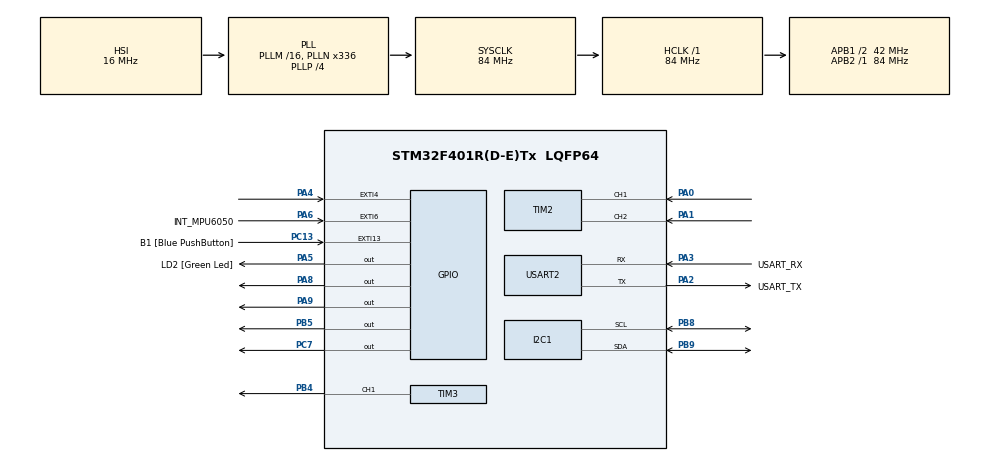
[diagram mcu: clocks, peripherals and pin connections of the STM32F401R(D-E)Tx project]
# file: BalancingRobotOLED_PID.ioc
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Mcu.Family=STM32F4
Mcu.Name=STM32F401R(D-E)Tx
Mcu.Package=LQFP64
NVIC.EXTI4_IRQn=true\:0\:0\:false\:false\:true\:true\:true\:true
NVIC.EXTI9_5_IRQn=true\:0\:0\:false\:false\:true\:true\:true\:true
NVIC.PriorityGroup=NVIC_PRIORITYGROUP_4
PA0-WKUP.Signal=S_TIM2_CH1_ETR
PA1.Signal=S_TIM2_CH2
PA13.GPIO_Label=TMS
PA13.Mode=Trace_Asynchronous_SW
PA13.Signal=SYS_JTMS-SWDIO
PA14.GPIO_Label=TCK
PA14.Mode=Trace_Asynchronous_SW
PA14.Signal=SYS_JTCK-SWCLK
PA2.GPIO_Label=USART_TX
PA2.GPIO_Mode=GPIO_MODE_AF_PP
PA2.GPIO_PuPd=GPIO_NOPULL
PA2.GPIO_Speed=GPIO_SPEED_FREQ_LOW
PA2.Mode=Asynchronous
PA2.Signal=USART2_TX
PA3.GPIO_Label=USART_RX
PA3.GPIO_Mode=GPIO_MODE_AF_PP
PA3.GPIO_PuPd=GPIO_NOPULL
PA3.GPIO_Speed=GPIO_SPEED_FREQ_LOW
PA3.Mode=Asynchronous
PA3.Signal=USART2_RX
PA4.Signal=GPXTI4
PA5.GPIO_Label=LD2 [Green Led]
PA5.GPIO_Mode=GPIO_MODE_OUTPUT_PP
PA5.GPIO_PuPd=GPIO_NOPULL
PA5.GPIO_Speed=GPIO_SPEED_FREQ_LOW
PA5.Signal=GPIO_Output
PA6.GPIO_Label=INT_MPU6050
PA6.Signal=GPXTI6
PA8.Signal=GPIO_Output
PA9.Signal=GPIO_Output
PB3.GPIO_Label=SWO
PB3.Mode=Trace_Asynchronous_SW
PB3.Signal=SYS_JTDO-SWO
PB4.Signal=S_TIM3_CH1
PB5.Signal=GPIO_Output
PB8.Mode=I2C
PB8.Signal=I2C1_SCL
PB9.Mode=I2C
PB9.Signal=I2C1_SDA
PC13-ANTI_TAMP.GPIO_Label=B1 [Blue PushButton]
PC13-ANTI_TAMP.GPIO_ModeDefaultEXTI=GPIO_MODE_IT_FALLING
PC13-ANTI_TAMP.GPIO_PuPd=GPIO_NOPULL
PC13-ANTI_TAMP.Signal=GPXTI13
PC14-OSC32_IN.Mode=LSE-External-Oscillator
PC14-OSC32_IN.Signal=RCC_OSC32_IN
PC15-OSC32_OUT.Mode=LSE-External-Oscillator
PC15-OSC32_OUT.Signal=RCC_OSC32_OUT
PC7.Signal=GPIO_Output
PH0\ -\ OSC_IN.Mode=HSE-External-Clock-Source
PH0\ -\ OSC_IN.Signal=RCC_OSC_IN
PH1\ -\ OSC_OUT.Mode=HSE-External-Clock-Source
PH1\ -\ OSC_OUT.Signal=RCC_OSC_OUT
ProjectManager.HeapSize=0x200
ProjectManager.StackSize=0x400
ProjectManager.TargetToolchain=STM32CubeIDE
RCC.48MHZClocksFreq_Value=48000000
RCC.AHBFreq_Value=84000000
RCC.APB1CLKDivider=RCC_HCLK_DIV2
RCC.APB1Freq_Value=42000000
RCC.APB1TimFreq_Value=84000000
RCC.APB2Freq_Value=84000000
RCC.APB2TimFreq_Value=84000000
RCC.CortexFreq_Value=84000000
RCC.HCLKFreq_Value=84000000
RCC.HSE_VALUE=8000000
RCC.HSI_VALUE=16000000
RCC.PLLN=336
RCC.PLLP=RCC_PLLP_DIV4
RCC.PLLQ=7
RCC.SYSCLKFreq_VALUE=84000000
RCC.SYSCLKSource=RCC_SYSCLKSOURCE_PLLCLK
RCC.VCOOutputFreq_Value=336000000
SH.S_TIM2_CH1_ETR.0=TIM2_CH1,Encoder_Interface
SH.S_TIM2_CH2.0=TIM2_CH2,Encoder_Interface
SH.S_TIM3_CH1.0=TIM3_CH1,PWM Generation1 CH1
TIM2.EncoderMode=TIM_ENCODERMODE_TI12
TIM3.Channel-PWM\ Generation1\ CH1=TIM_CHANNEL_1
TIM3.Period=999
TIM3.Prescaler=839
USART2.VirtualMode=VM_ASYNC
board=NUCLEO-F401RE

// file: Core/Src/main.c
/* USER CODE BEGIN Header */
/**
  ******************************************************************************
  * @file           : main.c
  * @brief          : Main program body
  ******************************************************************************
  * @attention
  *
  * Copyright (c) 2026 STMicroelectronics.
  * All rights reserved.
  *
  * This software is licensed under terms that can be found in the LICENSE file
  * in the root directory of this software component.
  * If no LICENSE file comes with this software, it is provided AS-IS.
  *
  ******************************************************************************
  */
/* USER CODE END Header */
#include "main.h"

/* USER CODE BEGIN Includes */
#include <string.h>
#include<stdio.h>
#include "mpu6050.h"
#include "Kalman.h"
/* USER CODE END Includes */

/* USER CODE BEGIN PD */
#define I2C_PORT GPIOB
#define I2C_SCL_PIN GPIO_PIN_8
#define I2C_SDA_PIN GPIO_PIN_9
#define FORWARD 1
#define BACKWARD 0
/* USER CODE END PD */

I2C_HandleTypeDef hi2c1;

TIM_HandleTypeDef htim2;
TIM_HandleTypeDef htim3;

UART_HandleTypeDef huart2;
int16_t acc_x, acc_y, acc_z, gyr_x, gyr_y, gyr_z;
float ax, ay, az, gx, gy, gz, temperature, roll, pitch, previous_error;
uint8_t buffer[128];
Kalman_t kalman_pitch;
uint32_t last_time;
float gyro_x_offset = 0.0f;
long suma_gyro = 0;
float motor_left_offset = 0.0f;

float Kp =10.0f;
float Ki = 0.0f;
float Kd = 0.5f;
float error_band  = 0.4f;
float gyro_trust = 0.90f;
float acc_trust = 0.1f;

float comp_angle = 0.0f;
float target_angle = 0.2f;
float error_integral = 0.0f;

float MAX_INTEGRAL = 400.0f;
float MAX_PWM = 1000.0f;
float MIN_PWM = 220.0f;

void SystemClock_Config(void);
static void MX_GPIO_Init(void);
static void MX_USART2_UART_Init(void);
static void MX_I2C1_Init(void);
static void MX_TIM2_Init(void);
static void MX_TIM3_Init(void);

/* USER CODE BEGIN 0 */
void SetMotorLeft(uint8_t dir,uint32_t pwm)
{
if (dir == FORWARD){
	HAL_GPIO_WritePin(GPIOA, GPIO_PIN_8, GPIO_PIN_SET);
	HAL_GPIO_WritePin(GPIOA, GPIO_PIN_9, GPIO_PIN_RESET);
}
else if (dir == BACKWARD){
	HAL_GPIO_WritePin(GPIOA, GPIO_PIN_8, GPIO_PIN_RESET);
	HAL_GPIO_WritePin(GPIOA, GPIO_PIN_9, GPIO_PIN_SET);
}
	__HAL_TIM_SET_COMPARE(&htim3, TIM_CHANNEL_1, pwm);
}
void SetMotorRight(uint8_t dir,uint32_t pwm)
{
	if(dir == 1){
			HAL_GPIO_WritePin(GPIOC, GPIO_PIN_7, GPIO_PIN_SET);
			HAL_GPIO_WritePin(GPIOB, GPIO_PIN_5, GPIO_PIN_RESET);
		}
		else if(dir == 0){
			HAL_GPIO_WritePin(GPIOC, GPIO_PIN_7, GPIO_PIN_RESET);
			HAL_GPIO_WritePin(GPIOB, GPIO_PIN_5, GPIO_PIN_SET);

		}
		__HAL_TIM_SET_COMPARE(&htim2, TIM_CHANNEL_3, pwm);

	}

float Calculate_PID(float current_angle, float current_gyro, float dt) {
    float error = target_angle - current_angle;
    if (error > -error_band && error < error_band) {
    	        return 0.0f;
    	        error_integral = 0.0f;
    	    }
    float P_out = Kp * error;

    error_integral += error * dt;

    if (error_integral > MAX_INTEGRAL) error_integral = MAX_INTEGRAL;
    else if (error_integral < -MAX_INTEGRAL) error_integral = -MAX_INTEGRAL;
    float I_out = Ki * error_integral;
    float D_out = Kd * ((error - previous_error)/dt);
    previous_error = error;

    float output = P_out + D_out+ I_out;

    return output;
}
void UART2_SendString(char* s)
{
 HAL_UART_Transmit(&huart2, (uint8_t*)s, strlen(s), 1000);
}
/* USER CODE END 0 */

int main(void)
{

  /* MCU Configuration--------------------------------------------------------*/

  /* Reset of all peripherals, Initializes the Flash interface and the Systick. */
  HAL_Init();

  /* Configure the system clock */
  SystemClock_Config();

  /* Initialize all configured peripherals */
  MX_GPIO_Init();
  MX_USART2_UART_Init();
  MX_I2C1_Init();
  MX_TIM2_Init();
  MX_TIM3_Init();
  /* USER CODE BEGIN 2 */
  HAL_Delay(100);
    MPU6050_Init(&hi2c1);
    HAL_TIM_PWM_Start(&htim3, TIM_CHANNEL_1);
    HAL_TIM_PWM_Start(&htim2, TIM_CHANNEL_3);
    MPU6050_SetInterruptMode(MPU6050_INTMODE_ACTIVEHIGH);
    MPU6050_SetInterruptDrive(MPU6050_INTDRV_PUSHPULL);
    MPU6050_SetInterruptLatch(MPU6050_INTLATCH_WAITCLEAR);
    MPU6050_SetInterruptLatchClear(MPU6050_INTCLEAR_STATUSREAD);

    MPU6050_SetIntEnableRegister(0);

    MPU6050_SetDHPFMode(MPU6050_DHPF_5);

    MPU6050_SetIntMotionEnabled(0);
    MPU6050_SetIntZeroMotionEnabled(0);
    MPU6050_SetIntFreeFallEnabled(0);

    MPU6050_SetFreeFallDetectionDuration(2);
    MPU6050_SetFreeFallDetectionThreshold(5);

    MPU6050_SetMotionDetectionDuration(5);
    MPU6050_SetMotionDetectionThreshold(2);

    MPU6050_SetZeroMotionDetectionDuration(2);
    MPU6050_SetZeroMotionDetectionThreshold(4);
    Kalman_Init(&kalman_pitch);

    for ( int i = 0; i < 500; i ++){
    	 suma_gyro += MPU6050_GetRotationXRAW();
    	 HAL_Delay(2);
     }
     gyro_x_offset = (float)(suma_gyro/ 500);
     last_time = HAL_GetTick();
  /* USER CODE END 2 */

  /* Infinite loop */
  /* USER CODE BEGIN WHILE */
  while (1)
  {
	  MPU6050_GetAccelerometerScaled(&ax, &ay, &az);
	  	  MPU6050_GetGyroscopeScaled(&gx, &gy, &gz);

	  	  MPU6050_GetRollPitch(&roll, &pitch);
	  	  uint32_t curr_time = HAL_GetTick();

	  	  float dt = (float)(curr_time - last_time)/ 1000.0f;
	  	  last_time = curr_time;
	  	  if(dt > 0.1f)dt = 0.01f;

	  	  float gyro_after_offset = (float)(gx - (gyro_x_offset*0.007633));
	  	 //memset(buffer, 0, 128);
	  	  //sprintf((char*)buffer, "ACC: X: %.2f Y:%.2f Z:%.2f \n\rGYR: X: %.2f Y:%.2f Z:%.2f\n\rTEMP: %.2f\n\r", ax, ay, az, gx, gy, gz, temperature);
	  //	  sprintf((char*)buffer, "Gyro: %.2f\r\n", gyro_after_offset);
	  //	  UART2_SendString((char*)buffer);
	  //	  HAL_Delay(100);
	  	 // float final_pitch_angle = Kalman_GetAngle(&kalman_pitch, pitch,gyro_after_offset , dt);
	  	  comp_angle  = gyro_trust * (comp_angle + gyro_after_offset * dt) + acc_trust * pitch;
	  	  float pid_output = Calculate_PID(comp_angle, gyro_after_offset, dt);

	  	  if (comp_angle > 45.0f || comp_angle < -45.0f) {
	  	            pid_output = 0.0f;
	  	            error_integral = 0.0f;
	  	        }

	  	        if (pid_output > 1.0f) pid_output = pid_output+ MIN_PWM;
	  	        if (pid_output < -1.0f) pid_output = pid_output- MIN_PWM;
	  	        if (pid_output > MAX_PWM) pid_output = MAX_PWM;
	  	        if (pid_output < -MAX_PWM) pid_output = -MAX_PWM;

	  	        if (pid_output > 0.0f) {
	  	            uint32_t pwm_right = (uint32_t)pid_output;
	  	            uint32_t pwm_left = (uint32_t)(pid_output+motor_left_offset);
	  	            if (pwm_left > MAX_PWM) pwm_left = MAX_PWM;
	  	            SetMotorLeft(FORWARD, pwm_left);
	  	            SetMotorRight(FORWARD, pwm_right);

	  	        }
	  	        else if (pid_output < 0.0f) {
	  	        	uint32_t pwm_right = (uint32_t)(-pid_output);
	  	        	uint32_t pwm_left = (uint32_t)(-pid_output+motor_left_offset);
	  	        	 if (pwm_left > MAX_PWM) pwm_left= MAX_PWM;
	  	        	 SetMotorLeft(BACKWARD, pwm_left);
	  	        	 SetMotorRight(BACKWARD, pwm_right);

	  	        }
	  	        else {
	  	        	SetMotorLeft(FORWARD, 0);
	  	        	SetMotorRight(FORWARD, 0);
	  	        }
    /* USER CODE END WHILE */

  }
}

void SystemClock_Config(void)
{
  RCC_OscInitTypeDef RCC_OscInitStruct = {0};
  RCC_ClkInitTypeDef RCC_ClkInitStruct = {0};

  /** Configure the main internal regulator output voltage
  */
  __HAL_RCC_PWR_CLK_ENABLE();
  __HAL_PWR_VOLTAGESCALING_CONFIG(PWR_REGULATOR_VOLTAGE_SCALE2);

  /** Initializes the RCC Oscillators according to the specified parameters
  * in the RCC_OscInitTypeDef structure.
  */
  RCC_OscInitStruct.OscillatorType = RCC_OSCILLATORTYPE_HSI;
  RCC_OscInitStruct.HSIState = RCC_HSI_ON;
  RCC_OscInitStruct.HSICalibrationValue = RCC_HSICALIBRATION_DEFAULT;
  RCC_OscInitStruct.PLL.PLLState = RCC_PLL_ON;
  RCC_OscInitStruct.PLL.PLLSource = RCC_PLLSOURCE_HSI;
  RCC_OscInitStruct.PLL.PLLM = 16;
  RCC_OscInitStruct.PLL.PLLN = 336;
  RCC_OscInitStruct.PLL.PLLP = RCC_PLLP_DIV4;
  RCC_OscInitStruct.PLL.PLLQ = 7;
  if (HAL_RCC_OscConfig(&RCC_OscInitStruct) != HAL_OK)
  {
    Error_Handler();
  }

  /** Initializes the CPU, AHB and APB buses clocks
  */
  RCC_ClkInitStruct.ClockType = RCC_CLOCKTYPE_HCLK|RCC_CLOCKTYPE_SYSCLK
                              |RCC_CLOCKTYPE_PCLK1|RCC_CLOCKTYPE_PCLK2;
  RCC_ClkInitStruct.SYSCLKSource = RCC_SYSCLKSOURCE_PLLCLK;
  RCC_ClkInitStruct.AHBCLKDivider = RCC_SYSCLK_DIV1;
  RCC_ClkInitStruct.APB1CLKDivider = RCC_HCLK_DIV2;
  RCC_ClkInitStruct.APB2CLKDivider = RCC_HCLK_DIV1;

  if (HAL_RCC_ClockConfig(&RCC_ClkInitStruct, FLASH_LATENCY_2) != HAL_OK)
  {
    Error_Handler();
  }
}

static void MX_I2C1_Init(void)
{

  hi2c1.Instance = I2C1;
  hi2c1.Init.ClockSpeed = 100000;
  hi2c1.Init.DutyCycle = I2C_DUTYCYCLE_2;
  hi2c1.Init.OwnAddress1 = 0;
  hi2c1.Init.AddressingMode = I2C_ADDRESSINGMODE_7BIT;
  hi2c1.Init.DualAddressMode = I2C_DUALADDRESS_DISABLE;
  hi2c1.Init.OwnAddress2 = 0;
  hi2c1.Init.GeneralCallMode = I2C_GENERALCALL_DISABLE;
  hi2c1.Init.NoStretchMode = I2C_NOSTRETCH_DISABLE;
  if (HAL_I2C_Init(&hi2c1) != HAL_OK)
  {
    Error_Handler();
  }

}

static void MX_TIM2_Init(void)
{

  TIM_Encoder_InitTypeDef sConfig = {0};
  TIM_MasterConfigTypeDef sMasterConfig = {0};

  htim2.Instance = TIM2;
  htim2.Init.Prescaler = 0;
  htim2.Init.CounterMode = TIM_COUNTERMODE_UP;
  htim2.Init.Period = 4294967295;
  htim2.Init.ClockDivision = TIM_CLOCKDIVISION_DIV1;
  htim2.Init.AutoReloadPreload = TIM_AUTORELOAD_PRELOAD_DISABLE;
  sConfig.EncoderMode = TIM_ENCODERMODE_TI12;
  sConfig.IC1Polarity = TIM_ICPOLARITY_RISING;
  sConfig.IC1Selection = TIM_ICSELECTION_DIRECTTI;
  sConfig.IC1Prescaler = TIM_ICPSC_DIV1;
  sConfig.IC1Filter = 0;
  sConfig.IC2Polarity = TIM_ICPOLARITY_RISING;
  sConfig.IC2Selection = TIM_ICSELECTION_DIRECTTI;
  sConfig.IC2Prescaler = TIM_ICPSC_DIV1;
  sConfig.IC2Filter = 0;
  if (HAL_TIM_Encoder_Init(&htim2, &sConfig) != HAL_OK)
  {
    Error_Handler();
  }
  sMasterConfig.MasterOutputTrigger = TIM_TRGO_RESET;
  sMasterConfig.MasterSlaveMode = TIM_MASTERSLAVEMODE_DISABLE;
  if (HAL_TIMEx_MasterConfigSynchronization(&htim2, &sMasterConfig) != HAL_OK)
  {
    Error_Handler();
  }

}

static void MX_TIM3_Init(void)
{

  TIM_MasterConfigTypeDef sMasterConfig = {0};
  TIM_OC_InitTypeDef sConfigOC = {0};

  htim3.Instance = TIM3;
  htim3.Init.Prescaler = 839;
  htim3.Init.CounterMode = TIM_COUNTERMODE_UP;
  htim3.Init.Period = 999;
  htim3.Init.ClockDivision = TIM_CLOCKDIVISION_DIV1;
  htim3.Init.AutoReloadPreload = TIM_AUTORELOAD_PRELOAD_DISABLE;
  if (HAL_TIM_PWM_Init(&htim3) != HAL_OK)
  {
    Error_Handler();
  }
  sMasterConfig.MasterOutputTrigger = TIM_TRGO_RESET;
  sMasterConfig.MasterSlaveMode = TIM_MASTERSLAVEMODE_DISABLE;
  if (HAL_TIMEx_MasterConfigSynchronization(&htim3, &sMasterConfig) != HAL_OK)
  {
    Error_Handler();
  }
  sConfigOC.OCMode = TIM_OCMODE_PWM1;
  sConfigOC.Pulse = 0;
  sConfigOC.OCPolarity = TIM_OCPOLARITY_HIGH;
  sConfigOC.OCFastMode = TIM_OCFAST_DISABLE;
  if (HAL_TIM_PWM_ConfigChannel(&htim3, &sConfigOC, TIM_CHANNEL_1) != HAL_OK)
  {
    Error_Handler();
  }
  HAL_TIM_MspPostInit(&htim3);

}

static void MX_USART2_UART_Init(void)
{

  huart2.Instance = USART2;
  huart2.Init.BaudRate = 115200;
  huart2.Init.WordLength = UART_WORDLENGTH_8B;
  huart2.Init.StopBits = UART_STOPBITS_1;
  huart2.Init.Parity = UART_PARITY_NONE;
  huart2.Init.Mode = UART_MODE_TX_RX;
  huart2.Init.HwFlowCtl = UART_HWCONTROL_NONE;
  huart2.Init.OverSampling = UART_OVERSAMPLING_16;
  if (HAL_UART_Init(&huart2) != HAL_OK)
  {
    Error_Handler();
  }

}

static void MX_GPIO_Init(void)
{
  GPIO_InitTypeDef GPIO_InitStruct = {0};

  /* GPIO Ports Clock Enable */
  __HAL_RCC_GPIOC_CLK_ENABLE();
  __HAL_RCC_GPIOH_CLK_ENABLE();
  __HAL_RCC_GPIOA_CLK_ENABLE();
  __HAL_RCC_GPIOB_CLK_ENABLE();

  /*Configure GPIO pin Output Level */
  HAL_GPIO_WritePin(GPIOA, LD2_Pin|GPIO_PIN_8|GPIO_PIN_9, GPIO_PIN_RESET);

  /*Configure GPIO pin Output Level */
  HAL_GPIO_WritePin(GPIOC, GPIO_PIN_7, GPIO_PIN_RESET);

  /*Configure GPIO pin Output Level */
  HAL_GPIO_WritePin(GPIOB, GPIO_PIN_5, GPIO_PIN_RESET);

  /*Configure GPIO pin : B1_Pin */
  GPIO_InitStruct.Pin = B1_Pin;
  GPIO_InitStruct.Mode = GPIO_MODE_IT_FALLING;
  GPIO_InitStruct.Pull = GPIO_NOPULL;
  HAL_GPIO_Init(B1_GPIO_Port, &GPIO_InitStruct);

  /*Configure GPIO pins : PA4 INT_MPU6050_Pin */
  GPIO_InitStruct.Pin = GPIO_PIN_4|INT_MPU6050_Pin;
  GPIO_InitStruct.Mode = GPIO_MODE_IT_RISING;
  GPIO_InitStruct.Pull = GPIO_NOPULL;
  HAL_GPIO_Init(GPIOA, &GPIO_InitStruct);

  /*Configure GPIO pins : LD2_Pin PA8 PA9 */
  GPIO_InitStruct.Pin = LD2_Pin|GPIO_PIN_8|GPIO_PIN_9;
  GPIO_InitStruct.Mode = GPIO_MODE_OUTPUT_PP;
  GPIO_InitStruct.Pull = GPIO_NOPULL;
  GPIO_InitStruct.Speed = GPIO_SPEED_FREQ_LOW;
  HAL_GPIO_Init(GPIOA, &GPIO_InitStruct);

  /*Configure GPIO pin : PC7 */
  GPIO_InitStruct.Pin = GPIO_PIN_7;
  GPIO_InitStruct.Mode = GPIO_MODE_OUTPUT_PP;
  GPIO_InitStruct.Pull = GPIO_NOPULL;
  GPIO_InitStruct.Speed = GPIO_SPEED_FREQ_LOW;
  HAL_GPIO_Init(GPIOC, &GPIO_InitStruct);

  /*Configure GPIO pin : PB5 */
  GPIO_InitStruct.Pin = GPIO_PIN_5;
  GPIO_InitStruct.Mode = GPIO_MODE_OUTPUT_PP;
  GPIO_InitStruct.Pull = GPIO_NOPULL;
  GPIO_InitStruct.Speed = GPIO_SPEED_FREQ_LOW;
  HAL_GPIO_Init(GPIOB, &GPIO_InitStruct);

  /* EXTI interrupt init*/
  HAL_NVIC_SetPriority(EXTI4_IRQn, 0, 0);
  HAL_NVIC_EnableIRQ(EXTI4_IRQn);

  HAL_NVIC_SetPriority(EXTI9_5_IRQn, 0, 0);
  HAL_NVIC_EnableIRQ(EXTI9_5_IRQn);

}

void Error_Handler(void)
{
  __disable_irq();
  while (1)
  {
  }
}
